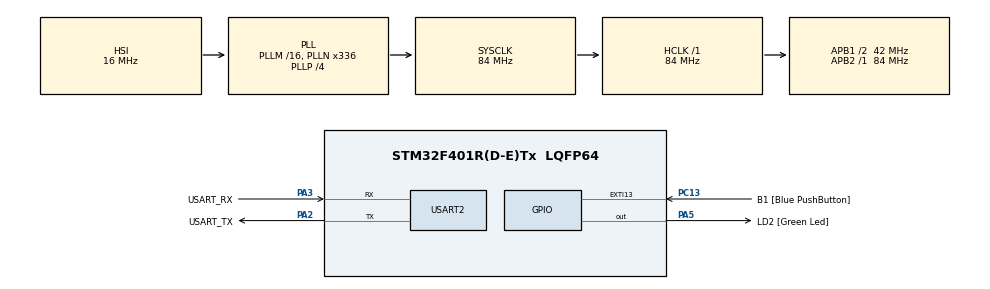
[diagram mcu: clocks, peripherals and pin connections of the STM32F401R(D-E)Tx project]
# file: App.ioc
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Mcu.Family=STM32F4
Mcu.Name=STM32F401R(D-E)Tx
Mcu.Package=LQFP64
NVIC.PriorityGroup=NVIC_PRIORITYGROUP_0
PA13.GPIO_Label=TMS
PA13.Mode=Serial_Wire
PA13.Signal=SYS_JTMS-SWDIO
PA14.GPIO_Label=TCK
PA14.Mode=Serial_Wire
PA14.Signal=SYS_JTCK-SWCLK
PA2.GPIO_Label=USART_TX
PA2.GPIO_Mode=GPIO_MODE_AF_PP
PA2.GPIO_PuPd=GPIO_NOPULL
PA2.GPIO_Speed=GPIO_SPEED_FREQ_LOW
PA2.Mode=Asynchronous
PA2.Signal=USART2_TX
PA3.GPIO_Label=USART_RX
PA3.GPIO_Mode=GPIO_MODE_AF_PP
PA3.GPIO_PuPd=GPIO_NOPULL
PA3.GPIO_Speed=GPIO_SPEED_FREQ_LOW
PA3.Mode=Asynchronous
PA3.Signal=USART2_RX
PA5.GPIO_Label=LD2 [Green Led]
PA5.GPIO_Mode=GPIO_MODE_OUTPUT_PP
PA5.GPIO_PuPd=GPIO_NOPULL
PA5.GPIO_Speed=GPIO_SPEED_FREQ_LOW
PA5.Signal=GPIO_Output
PB3.GPIO_Label=SWO
PB3.Signal=SYS_JTDO-SWO
PC13-ANTI_TAMP.GPIO_Label=B1 [Blue PushButton]
PC13-ANTI_TAMP.GPIO_ModeDefaultEXTI=GPIO_MODE_IT_FALLING
PC13-ANTI_TAMP.GPIO_PuPd=GPIO_NOPULL
PC13-ANTI_TAMP.Signal=GPXTI13
PC14-OSC32_IN.Mode=LSE-External-Oscillator
PC14-OSC32_IN.Signal=RCC_OSC32_IN
PC15-OSC32_OUT.Mode=LSE-External-Oscillator
PC15-OSC32_OUT.Signal=RCC_OSC32_OUT
PH0\ -\ OSC_IN.Mode=HSE-External-Clock-Source
PH0\ -\ OSC_IN.Signal=RCC_OSC_IN
PH1\ -\ OSC_OUT.Mode=HSE-External-Clock-Source
PH1\ -\ OSC_OUT.Signal=RCC_OSC_OUT
ProjectManager.HeapSize=0x200
ProjectManager.StackSize=0x400
ProjectManager.TargetToolchain=STM32CubeIDE
RCC.48MHZClocksFreq_Value=48000000
RCC.AHBFreq_Value=84000000
RCC.APB1CLKDivider=RCC_HCLK_DIV2
RCC.APB1Freq_Value=42000000
RCC.APB1TimFreq_Value=84000000
RCC.APB2Freq_Value=84000000
RCC.APB2TimFreq_Value=84000000
RCC.CortexFreq_Value=84000000
RCC.HCLKFreq_Value=84000000
RCC.HSE_VALUE=8000000
RCC.HSI_VALUE=16000000
RCC.PLLN=336
RCC.PLLP=RCC_PLLP_DIV4
RCC.PLLQ=7
RCC.SYSCLKFreq_VALUE=84000000
RCC.SYSCLKSource=RCC_SYSCLKSOURCE_PLLCLK
RCC.VCOOutputFreq_Value=336000000
USART2.VirtualMode=VM_ASYNC
board=NUCLEO-F401RE

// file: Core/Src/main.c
/* USER CODE BEGIN Header */
/**
  ******************************************************************************
  * @file           : main.c
  * @brief          : Main program body
  ******************************************************************************
  * @attention
  *
  * Copyright (c) 2024 STMicroelectronics.
  * All rights reserved.
  *
  * This software is licensed under terms that can be found in the LICENSE file
  * in the root directory of this software component.
  * If no LICENSE file comes with this software, it is provided AS-IS.
  *
  ******************************************************************************
  */
/* USER CODE END Header */
#include "main.h"
#include <stdio.h>
#include "usart.h"
#include "gpio.h"

/* USER CODE BEGIN PD */
#define MAJOR 0
#define MINOR 1
/* USER CODE END PD */

/* USER CODE BEGIN PV */
const uint8_t app_version[2] = {MAJOR, MINOR};
/* USER CODE END PV */

void SystemClock_Config(void);

int main(void)
{

  /* MCU Configuration--------------------------------------------------------*/

  /* Reset of all peripherals, Initializes the Flash interface and the Systick. */
  HAL_Init();

  /* Configure the system clock */
  SystemClock_Config();

  /* Initialize all configured peripherals */
  MX_GPIO_Init();
  MX_USART2_UART_Init();
  /* USER CODE BEGIN 2 */
  printf("APP Starting! Version number: %d.%d\n", app_version[0], app_version[1]);
  /* USER CODE END 2 */

  /* Infinite loop */
  /* USER CODE BEGIN WHILE */
  while (1)
  {
    HAL_GPIO_WritePin(GPIOA, GPIO_PIN_5, SET);
    HAL_Delay(1000);
    HAL_GPIO_WritePin(GPIOA, GPIO_PIN_5, RESET);
    HAL_Delay(1000);
    /* USER CODE END WHILE */

  }
}

void SystemClock_Config(void)
{
  RCC_OscInitTypeDef RCC_OscInitStruct = {0};
  RCC_ClkInitTypeDef RCC_ClkInitStruct = {0};

  /** Configure the main internal regulator output voltage
  */
  __HAL_RCC_PWR_CLK_ENABLE();
  __HAL_PWR_VOLTAGESCALING_CONFIG(PWR_REGULATOR_VOLTAGE_SCALE2);

  /** Initializes the RCC Oscillators according to the specified parameters
  * in the RCC_OscInitTypeDef structure.
  */
  RCC_OscInitStruct.OscillatorType = RCC_OSCILLATORTYPE_HSI;
  RCC_OscInitStruct.HSIState = RCC_HSI_ON;
  RCC_OscInitStruct.HSICalibrationValue = RCC_HSICALIBRATION_DEFAULT;
  RCC_OscInitStruct.PLL.PLLState = RCC_PLL_ON;
  RCC_OscInitStruct.PLL.PLLSource = RCC_PLLSOURCE_HSI;
  RCC_OscInitStruct.PLL.PLLM = 16;
  RCC_OscInitStruct.PLL.PLLN = 336;
  RCC_OscInitStruct.PLL.PLLP = RCC_PLLP_DIV4;
  RCC_OscInitStruct.PLL.PLLQ = 7;
  if (HAL_RCC_OscConfig(&RCC_OscInitStruct) != HAL_OK)
  {
    Error_Handler();
  }

  /** Initializes the CPU, AHB and APB buses clocks
  */
  RCC_ClkInitStruct.ClockType = RCC_CLOCKTYPE_HCLK|RCC_CLOCKTYPE_SYSCLK
                              |RCC_CLOCKTYPE_PCLK1|RCC_CLOCKTYPE_PCLK2;
  RCC_ClkInitStruct.SYSCLKSource = RCC_SYSCLKSOURCE_PLLCLK;
  RCC_ClkInitStruct.AHBCLKDivider = RCC_SYSCLK_DIV1;
  RCC_ClkInitStruct.APB1CLKDivider = RCC_HCLK_DIV2;
  RCC_ClkInitStruct.APB2CLKDivider = RCC_HCLK_DIV1;

  if (HAL_RCC_ClockConfig(&RCC_ClkInitStruct, FLASH_LATENCY_2) != HAL_OK)
  {
    Error_Handler();
  }
}

/* USER CODE BEGIN 4 */

#ifdef __GNUC__
int __io_putchar(int ch)
#else
int fputc(int ch, FILE *f)
#endif /* __GNUC__ */
{
  HAL_UART_Transmit(&huart2, (uint8_t *)&ch, 2, HAL_MAX_DELAY);

  return ch;
}
/* USER CODE END 4 */

void Error_Handler(void)
{
  __disable_irq();
  while (1)
  {
  }
}
